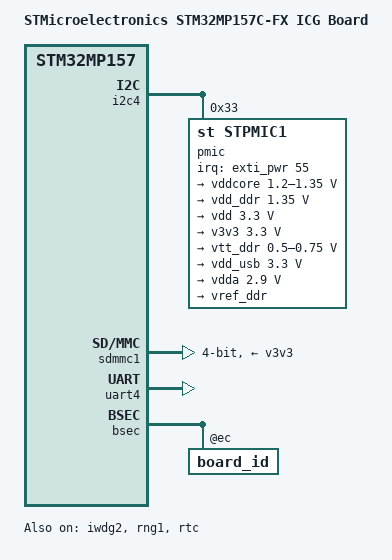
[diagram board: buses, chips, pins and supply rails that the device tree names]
// SPDX-License-Identifier: (GPL-2.0+ OR BSD-3-Clause)
/*
 * Copyright (C) STMicroelectronics 2018 - All Rights Reserved
 * Author: Alexandre Torgue <alexandre.torgue@st.com>.
 */

/dts-v1/;

#include "stm32mp157c-fx.dtsi"
#include "stm32mp157cac-pinctrl-fx.dtsi"

/ {
	model = "STMicroelectronics STM32MP157C-FX ICG Board";
	compatible = "st,stm32mp157c-fx", "st,stm32mp157";

	aliases {
		serial0 = &uart4;
		serial1 = &usart3;
		serial2 = &uart7;
	};

	chosen {
		stdout-path = "serial0:115200n8";
	};

};

&clk_hse {
	st,digbypass;
};

&i2c4 {
	pinctrl-names = "default";
	pinctrl-0 = <&i2c4_pins_a &i2c4_pins_z_a>;
	i2c-scl-rising-time-ns = <185>;
	i2c-scl-falling-time-ns = <20>;
	status = "okay";

	pmic: stpmic@33 {
		compatible = "st,stpmic1";
		reg = <0x33>;
		interrupts-extended = <&exti_pwr 55 IRQ_TYPE_EDGE_FALLING>;
		interrupt-controller;
		#interrupt-cells = <2>;
		status = "okay";

		st,main-control-register = <0x04>;
		st,vin-control-register = <0xc0>;
		st,usb-control-register = <0x20>;

		regulators {
			compatible = "st,stpmic1-regulators";

			ldo1-supply = <&v3v3>;
			ldo3-supply = <&vdd_ddr>;
			ldo6-supply = <&v3v3>;

			vddcore: buck1 {
				regulator-name = "vddcore";
				regulator-min-microvolt = <1200000>;
				regulator-max-microvolt = <1350000>;
				regulator-always-on;
				regulator-initial-mode = <0>;
				regulator-over-current-protection;
			};

			vdd_ddr: buck2 {
				regulator-name = "vdd_ddr";
				regulator-min-microvolt = <1350000>;
				regulator-max-microvolt = <1350000>;
				regulator-always-on;
				regulator-initial-mode = <0>;
				regulator-over-current-protection;
			};

			vdd: buck3 {
				regulator-name = "vdd";
				regulator-min-microvolt = <3300000>;
				regulator-max-microvolt = <3300000>;
				regulator-always-on;
				st,mask-reset;
				regulator-initial-mode = <0>;
				regulator-over-current-protection;
			};

			v3v3: buck4 {
				regulator-name = "v3v3";
				regulator-min-microvolt = <3300000>;
				regulator-max-microvolt = <3300000>;
				regulator-always-on;
				regulator-over-current-protection;
				regulator-initial-mode = <0>;
			};

			vtt_ddr: ldo3 {
				regulator-name = "vtt_ddr";
				regulator-min-microvolt = <500000>;
				regulator-max-microvolt = <750000>;
				regulator-always-on;
				regulator-over-current-protection;
			};

			vdd_usb: ldo4 {
				regulator-name = "vdd_usb";
				regulator-min-microvolt = <3300000>;
				regulator-max-microvolt = <3300000>;
			};

			vdda: ldo5 {
				regulator-name = "vdda";
				regulator-min-microvolt = <2900000>;
				regulator-max-microvolt = <2900000>;
				regulator-boot-on;
			};

			vref_ddr: vref_ddr {
				regulator-name = "vref_ddr";
				regulator-always-on;
				regulator-over-current-protection;
			};
		};
	};
};

&iwdg2 {
	timeout-sec = <32>;
	status = "okay";
};

&pwr {
	pwr-regulators {
		vdd-supply = <&vdd>;
	};
};

&rng1 {
	status = "okay";
};

&rtc {
	status = "okay";
};

&sdmmc1 {
	pinctrl-names = "default";
	pinctrl-0 = <&sdmmc1_b4_pins_a>;
	broken-cd;
	st,neg-edge;
	bus-width = <4>;
	vmmc-supply = <&v3v3>;
	status = "okay";
};

&uart4 {
	pinctrl-names = "default";
	pinctrl-0 = <&uart4_pins_a>;
	status = "okay";
};

&uart7 {
	pinctrl-names = "default";
	pinctrl-0 = <&uart7_pins_c>;
	status = "disabled";
};

&usart3 {
	pinctrl-names = "default";
	pinctrl-0 = <&usart3_pins_b>;
	status = "disabled";
};

/* ATF Specific */
#include <dt-bindings/clock/stm32mp1-clksrc.h>
#include "stm32mp15-ddr3-1x4Gb-800.dtsi"
#include "stm32mp157c-security-fx.dtsi"

/ {
	aliases {
		gpio0 = &gpioa;
		gpio1 = &gpiob;
		gpio2 = &gpioc;
		gpio3 = &gpiod;
		gpio4 = &gpioe;
		gpio5 = &gpiof;
		gpio6 = &gpiog;
		gpio7 = &gpioh;
		gpio8 = &gpioi;
		gpio25 = &gpioz;
		i2c3 = &i2c4;
	};
};

/* CLOCK init */
&rcc {
	secure-status = "disabled";
	st,clksrc = <
		CLK_MPU_PLL1P
		CLK_AXI_HSE
		CLK_MCU_HSE
		CLK_PLL12_HSE
		CLK_PLL3_HSE
		CLK_PLL4_HSE
		CLK_RTC_LSE
		CLK_MCO1_DISABLED
		CLK_MCO2_DISABLED
	>;

	st,clkdiv = <
		1 /*MPU*/
		0 /*AXI*/
		0 /*MCU*/
		0 /*APB1*/
		0 /*APB2*/
		0 /*APB3*/
		0 /*APB4*/
		0 /*APB5*/
		0 /*RTC*/
		0 /*MCO1*/
		0 /*MCO2*/
	>;

	st,pkcs = <
		CLK_CKPER_DISABLED
		CLK_ETH_DISABLED
		CLK_SDMMC12_HCLK6
		CLK_STGEN_HSE
		CLK_USBPHY_PLL4R
		CLK_SPI2S1_PLL4P
		CLK_SPI2S23_DISABLED
		CLK_SPI45_DISABLED
		CLK_SPI6_DISABLED
		CLK_I2C46_PCLK5
		CLK_SDMMC3_DISABLED
		CLK_USBO_PLL4R
		CLK_ADC_PLL4R
		CLK_CEC_DISABLED
		CLK_I2C12_PCLK1
		CLK_I2C35_PCLK1
		CLK_UART1_PCLK5
		CLK_UART24_PCLK1
		CLK_UART35_PCLK1
		CLK_UART6_PCLK2
		CLK_UART78_PCLK1
		CLK_SPDIF_DISABLED
		CLK_SAI1_DISABLED
		CLK_SAI2_DISABLED
		CLK_SAI3_DISABLED
		CLK_SAI4_DISABLED
		CLK_RNG1_LSI
		CLK_RNG2_LSI
		CLK_LPTIM1_DISABLED
		CLK_LPTIM23_DISABLED
		CLK_LPTIM45_DISABLED
	>;

	pll2: st,pll@1 {
		compatible = "st,stm32mp1-pll";
		reg = <1>;
		cfg = < 3 24 1 1 0 PQR(0,0,1) >;
		u-boot,dm-pre-reloc;
	};

	pll4: st,pll@3 {
		compatible = "st,stm32mp1-pll";
		reg = <3>;
		cfg = < 3 29 2 1 24 PQR(1,0,1) >;
		u-boot,dm-pre-reloc;
	};
};

&bsec {
	board_id: board_id@ec {
		reg = <0xec 0x4>;
		status = "okay";
		secure-status = "okay";
	};
};

